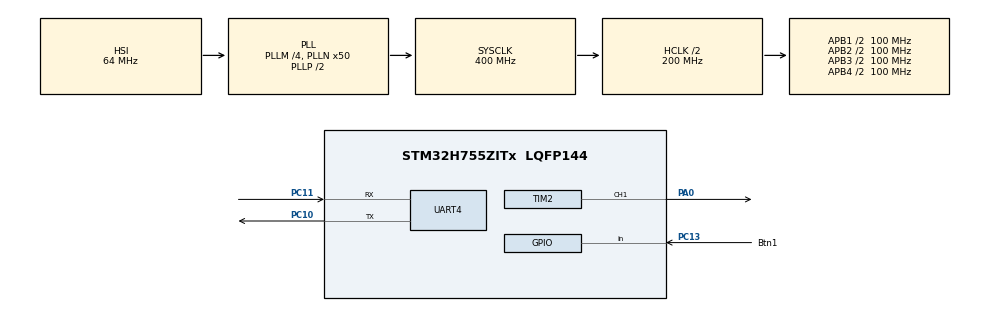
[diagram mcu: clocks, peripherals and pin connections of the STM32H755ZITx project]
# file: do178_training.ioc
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CortexM4.IPs=FATFS_M4\:I,FREERTOS_M4\:I,IWDG2\:I,RCC,WWDG2\:I,DMA,BDMA,MDMA,NVIC2\:I,USART3,DEBUG,PDM2PCM_M4\:I,PWR,RESMGR_UTILITY,SYS_M4\:I,USB_DEVICE_M4\:I,USB_HOST_M4\:I,CORTEX_M4\:I,GPIO,OPENAMP_M4\:I,VREFBUF,UART4
CortexM7.IPs=FATFS_M7\:I,FREERTOS_M7\:I,IWDG1\:I,RCC\:I,WWDG1\:I,DMA\:I,BDMA\:I,MDMA\:I,NVIC1\:I,SYS\:I,CORTEX_M7\:I,DEBUG\:I,PDM2PCM_M7\:I,PWR\:I,RESMGR_UTILITY\:I,USB_DEVICE_M7\:I,USB_HOST_M7\:I,GPIO\:I,OPENAMP_M7\:I,VREFBUF\:I,TIM2\:I,USART3\:I,UART4\:I
CortexM7.Pins=PC13
FREERTOS_M4.Tasks01=defaultTask,24,512,StartDefaultTask,Default,NULL,Static,defaultTaskBuffer,defaultTaskControlBlock;myTask02,24,512,StartTask02,Default,NULL,Static,myTask02Buffer,myTask02ControlBlock
FREERTOS_M4.configENABLE_FPU=1
FREERTOS_M7.Tasks01=defaultTask,24,512,StartDefaultTask,Default,NULL,Static,defaultTaskBuffer,defaultTaskControlBlock;myTask02,32,512,StartTask02,Default,NULL,Static,myTask02Buffer,myTask02ControlBlock
FREERTOS_M7.configENABLE_FPU=1
Mcu.Family=STM32H7
Mcu.Name=STM32H755ZITx
Mcu.Package=LQFP144
NUCLEO-H755ZI-Q.BUTTON=1
NUCLEO-H755ZI-Q.Bsp_Common_DEMO=true
NUCLEO-H755ZI-Q.LD1=true
NUCLEO-H755ZI-Q.LD2=true
NUCLEO-H755ZI-Q.LD3=true
NUCLEO-H755ZI-Q.VCP=true
NVIC1.PriorityGroup=NVIC_PRIORITYGROUP_4
NVIC2.PriorityGroup=NVIC_PRIORITYGROUP_4
PA0.PinAttribute=CortexM7
PA0.Signal=S_TIM2_CH1_ETR
PA1.PinAttribute=CortexM4
PA1.Signal=ETH_REF_CLK
PA11.PinAttribute=CortexM7
PA11.Signal=USB_OTG_FS_DM
PA12.PinAttribute=CortexM7
PA12.Signal=USB_OTG_FS_DP
PA2.PinAttribute=CortexM4
PA2.Signal=ETH_MDIO
PA7.PinAttribute=CortexM4
PA7.Signal=ETH_CRS_DV
PA8.PinAttribute=CortexM7
PA8.Signal=USB_OTG_FS_SOF
PA9.PinAttribute=CortexM7
PA9.Signal=USB_OTG_FS_VBUS
PB13.PinAttribute=CortexM4
PB13.Signal=ETH_TXD1
PC1.PinAttribute=CortexM4
PC1.Signal=ETH_MDC
PC10.Mode=Asynchronous
PC10.PinAttribute=CortexM7
PC10.Signal=UART4_TX
PC11.Mode=Asynchronous
PC11.PinAttribute=CortexM7
PC11.Signal=UART4_RX
PC13.GPIO_Label=Btn1
PC13.PinAttribute=CortexM7
PC13.Signal=GPIO_Input
PC14-OSC32_IN\ (OSC32_IN).PinAttribute=Free
PC14-OSC32_IN\ (OSC32_IN).Signal=RCC_OSC32_IN
PC15-OSC32_OUT\ (OSC32_OUT).PinAttribute=Free
PC15-OSC32_OUT\ (OSC32_OUT).Signal=RCC_OSC32_OUT
PC4.PinAttribute=CortexM4
PC4.Signal=ETH_RXD0
PC5.PinAttribute=CortexM4
PC5.Signal=ETH_RXD1
PD8.PinAttribute=CortexM7
PD8.Signal=USART3_TX
PD9.PinAttribute=CortexM7
PD9.Signal=USART3_RX
PG11.PinAttribute=CortexM4
PG11.Signal=ETH_TX_EN
PG13.PinAttribute=CortexM4
PG13.Signal=ETH_TXD0
PH0-OSC_IN\ (PH0).PinAttribute=Free
PH0-OSC_IN\ (PH0).Signal=RCC_OSC_IN
PH1-OSC_OUT\ (PH1).PinAttribute=Free
PH1-OSC_OUT\ (PH1).Signal=RCC_OSC_OUT
ProjectManager.HeapSize=M4-0x200,M7-0x200
ProjectManager.StackSize=M4-0x400,M7-0x400
ProjectManager.TargetToolchain=STM32CubeIDE
RCC.ADCFreq_Value=129000000
RCC.APB1Freq_Value=100000000
RCC.APB2Freq_Value=100000000
RCC.APB3Freq_Value=100000000
RCC.APB4Freq_Value=100000000
RCC.CortexFreq_Value=400000000
RCC.D1PPRE=RCC_APB3_DIV2
RCC.D2PPRE1=RCC_APB1_DIV2
RCC.D2PPRE2=RCC_APB2_DIV2
RCC.D3PPRE=RCC_APB4_DIV2
RCC.DIVM1=4
RCC.DIVN1=50
RCC.DIVQ1=5
RCC.HCLKFreq_Value=200000000
RCC.HPRE=RCC_HCLK_DIV2
RCC.PLL2FRACN=0
RCC.PLL3FRACN=0
RCC.PLLFRACN=0
RCC.SYSCLKFreq_VALUE=400000000
RCC.SYSCLKSource=RCC_SYSCLKSOURCE_PLLCLK
RCC.SupplySource=PWR_DIRECT_SMPS_SUPPLY
RCC.USBFreq_Value=160000000
SH.S_TIM2_CH1_ETR.0=TIM2_CH1,PWM Generation1 CH1
TIM2.AutoReloadPreload=TIM_AUTORELOAD_PRELOAD_ENABLE
TIM2.Channel-PWM\ Generation1\ CH1=TIM_CHANNEL_1
TIM2.Period=19999
TIM2.Prescaler=199
VP_FREERTOS_M4_VS_CMSIS_V2.Mode=CMSIS_V2
VP_FREERTOS_M7_VS_CMSIS_V2.Mode=CMSIS_V2
VP_NUCLEO-H755ZI-Q_VS_BSP_COMMON.Mode=COMMON
VP_SYS_M4_VS_Systick.Mode=SysTick
board=NUCLEO-H755ZI-Q

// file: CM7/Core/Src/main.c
/* USER CODE BEGIN Header */
/**
  ******************************************************************************
  * @file           : main.c
  * @brief          : Main program body
  ******************************************************************************
  * @attention
  *
  * Copyright (c) 2026 STMicroelectronics.
  * All rights reserved.
  *
  * This software is licensed under terms that can be found in the LICENSE file
  * in the root directory of this software component.
  * If no LICENSE file comes with this software, it is provided AS-IS.
  *
  ******************************************************************************
  */
/* USER CODE END Header */
#include "main.h"
#include "cmsis_os.h"

/* USER CODE BEGIN Includes */
#include "pwm_servo.h"
#include "flap.h"
/* USER CODE END Includes */

typedef StaticTask_t osStaticThreadDef_t;

/* USER CODE BEGIN PD */

/* DUAL_CORE_BOOT_SYNC_SEQUENCE: Define for dual core boot synchronization    */
/*                             demonstration code based on hardware semaphore */
/* This define is present in both CM7/CM4 projects                            */
/* To comment when developping/debugging on a single core                     */
#define DUAL_CORE_BOOT_SYNC_SEQUENCE

#if defined(DUAL_CORE_BOOT_SYNC_SEQUENCE)
#ifndef HSEM_ID_0
#define HSEM_ID_0 (0U) /* HW semaphore 0*/
#endif
#endif /* DUAL_CORE_BOOT_SYNC_SEQUENCE */

/* USER CODE END PD */

TIM_HandleTypeDef htim2;

UART_HandleTypeDef huart4;

/* Definitions for defaultTask */
osThreadId_t defaultTaskHandle;
uint32_t defaultTaskBuffer[ 512 ];
osStaticThreadDef_t defaultTaskControlBlock;
const osThreadAttr_t defaultTask_attributes = {
  .name = "defaultTask",
  .cb_mem = &defaultTaskControlBlock,
  .cb_size = sizeof(defaultTaskControlBlock),
  .stack_mem = &defaultTaskBuffer[0],
  .stack_size = sizeof(defaultTaskBuffer),
  .priority = (osPriority_t) osPriorityNormal,
};
/* Definitions for myTask02 */
osThreadId_t myTask02Handle;
uint32_t myTask02Buffer[ 512 ];
osStaticThreadDef_t myTask02ControlBlock;
const osThreadAttr_t myTask02_attributes = {
  .name = "myTask02",
  .cb_mem = &myTask02ControlBlock,
  .cb_size = sizeof(myTask02ControlBlock),
  .stack_mem = &myTask02Buffer[0],
  .stack_size = sizeof(myTask02Buffer),
  .priority = (osPriority_t) osPriorityAboveNormal,
};

void SystemClock_Config(void);
static void MX_GPIO_Init(void);
static void MX_TIM2_Init(void);
static void MX_UART4_Init(void);
void StartDefaultTask(void *argument);
void StartTask02(void *argument);

int main(void)
{

/* USER CODE BEGIN Boot_Mode_Sequence_0 */
#if defined(DUAL_CORE_BOOT_SYNC_SEQUENCE)
  int32_t timeout;
#endif /* DUAL_CORE_BOOT_SYNC_SEQUENCE */
/* USER CODE END Boot_Mode_Sequence_0 */

/* USER CODE BEGIN Boot_Mode_Sequence_1 */
#if defined(DUAL_CORE_BOOT_SYNC_SEQUENCE)
  /* Wait until CPU2 boots and enters in stop mode or timeout*/
  timeout = 0xFFFF;
  while((__HAL_RCC_GET_FLAG(RCC_FLAG_D2CKRDY) != RESET) && (timeout-- > 0));
  if ( timeout < 0 )
  {
  Error_Handler();
  }
#endif /* DUAL_CORE_BOOT_SYNC_SEQUENCE */
/* USER CODE END Boot_Mode_Sequence_1 */
  /* MCU Configuration--------------------------------------------------------*/

  /* Reset of all peripherals, Initializes the Flash interface and the Systick. */
  HAL_Init();

  /* Configure the system clock */
  SystemClock_Config();
/* USER CODE BEGIN Boot_Mode_Sequence_2 */
#if defined(DUAL_CORE_BOOT_SYNC_SEQUENCE)
/* When system initialization is finished, Cortex-M7 will release Cortex-M4 by means of
HSEM notification */
/*HW semaphore Clock enable*/
__HAL_RCC_HSEM_CLK_ENABLE();
/*Take HSEM */
HAL_HSEM_FastTake(HSEM_ID_0);
/*Release HSEM in order to notify the CPU2(CM4)*/
HAL_HSEM_Release(HSEM_ID_0,0);
/* wait until CPU2 wakes up from stop mode */
timeout = 0xFFFF;
while((__HAL_RCC_GET_FLAG(RCC_FLAG_D2CKRDY) == RESET) && (timeout-- > 0));
if ( timeout < 0 )
{
Error_Handler();
}
#endif /* DUAL_CORE_BOOT_SYNC_SEQUENCE */
/* USER CODE END Boot_Mode_Sequence_2 */

  /* Initialize all configured peripherals */
  MX_GPIO_Init();
  MX_TIM2_Init();
  MX_UART4_Init();

  /* Init scheduler */
  osKernelInitialize();

  /* Create the thread(s) */
  /* creation of defaultTask */
  defaultTaskHandle = osThreadNew(StartDefaultTask, NULL, &defaultTask_attributes);

  /* creation of myTask02 */
  myTask02Handle = osThreadNew(StartTask02, NULL, &myTask02_attributes);

  /* Start scheduler */
  osKernelStart();

  /* We should never get here as control is now taken by the scheduler */

  /* Infinite loop */

}

void SystemClock_Config(void)
{
  RCC_OscInitTypeDef RCC_OscInitStruct = {0};
  RCC_ClkInitTypeDef RCC_ClkInitStruct = {0};

  /** Supply configuration update enable
  */
  HAL_PWREx_ConfigSupply(PWR_DIRECT_SMPS_SUPPLY);

  /** Configure the main internal regulator output voltage
  */
  __HAL_PWR_VOLTAGESCALING_CONFIG(PWR_REGULATOR_VOLTAGE_SCALE1);

  while(!__HAL_PWR_GET_FLAG(PWR_FLAG_VOSRDY)) {}

  /** Initializes the RCC Oscillators according to the specified parameters
  * in the RCC_OscInitTypeDef structure.
  */
  RCC_OscInitStruct.OscillatorType = RCC_OSCILLATORTYPE_HSI;
  RCC_OscInitStruct.HSIState = RCC_HSI_DIV1;
  RCC_OscInitStruct.HSICalibrationValue = RCC_HSICALIBRATION_DEFAULT;
  RCC_OscInitStruct.PLL.PLLState = RCC_PLL_ON;
  RCC_OscInitStruct.PLL.PLLSource = RCC_PLLSOURCE_HSI;
  RCC_OscInitStruct.PLL.PLLM = 4;
  RCC_OscInitStruct.PLL.PLLN = 50;
  RCC_OscInitStruct.PLL.PLLP = 2;
  RCC_OscInitStruct.PLL.PLLQ = 5;
  RCC_OscInitStruct.PLL.PLLR = 2;
  RCC_OscInitStruct.PLL.PLLRGE = RCC_PLL1VCIRANGE_3;
  RCC_OscInitStruct.PLL.PLLVCOSEL = RCC_PLL1VCOWIDE;
  RCC_OscInitStruct.PLL.PLLFRACN = 0;
  if (HAL_RCC_OscConfig(&RCC_OscInitStruct) != HAL_OK)
  {
    Error_Handler();
  }

  /** Initializes the CPU, AHB and APB buses clocks
  */
  RCC_ClkInitStruct.ClockType = RCC_CLOCKTYPE_HCLK|RCC_CLOCKTYPE_SYSCLK
                              |RCC_CLOCKTYPE_PCLK1|RCC_CLOCKTYPE_PCLK2
                              |RCC_CLOCKTYPE_D3PCLK1|RCC_CLOCKTYPE_D1PCLK1;
  RCC_ClkInitStruct.SYSCLKSource = RCC_SYSCLKSOURCE_PLLCLK;
  RCC_ClkInitStruct.SYSCLKDivider = RCC_SYSCLK_DIV1;
  RCC_ClkInitStruct.AHBCLKDivider = RCC_HCLK_DIV2;
  RCC_ClkInitStruct.APB3CLKDivider = RCC_APB3_DIV2;
  RCC_ClkInitStruct.APB1CLKDivider = RCC_APB1_DIV2;
  RCC_ClkInitStruct.APB2CLKDivider = RCC_APB2_DIV2;
  RCC_ClkInitStruct.APB4CLKDivider = RCC_APB4_DIV2;

  if (HAL_RCC_ClockConfig(&RCC_ClkInitStruct, FLASH_LATENCY_2) != HAL_OK)
  {
    Error_Handler();
  }
}

static void MX_TIM2_Init(void)
{

  TIM_MasterConfigTypeDef sMasterConfig = {0};
  TIM_OC_InitTypeDef sConfigOC = {0};

  htim2.Instance = TIM2;
  htim2.Init.Prescaler = 199;
  htim2.Init.CounterMode = TIM_COUNTERMODE_UP;
  htim2.Init.Period = 19999;
  htim2.Init.ClockDivision = TIM_CLOCKDIVISION_DIV1;
  htim2.Init.AutoReloadPreload = TIM_AUTORELOAD_PRELOAD_ENABLE;
  if (HAL_TIM_PWM_Init(&htim2) != HAL_OK)
  {
    Error_Handler();
  }
  sMasterConfig.MasterOutputTrigger = TIM_TRGO_RESET;
  sMasterConfig.MasterSlaveMode = TIM_MASTERSLAVEMODE_DISABLE;
  if (HAL_TIMEx_MasterConfigSynchronization(&htim2, &sMasterConfig) != HAL_OK)
  {
    Error_Handler();
  }
  sConfigOC.OCMode = TIM_OCMODE_PWM1;
  sConfigOC.Pulse = 0;
  sConfigOC.OCPolarity = TIM_OCPOLARITY_HIGH;
  sConfigOC.OCFastMode = TIM_OCFAST_DISABLE;
  if (HAL_TIM_PWM_ConfigChannel(&htim2, &sConfigOC, TIM_CHANNEL_1) != HAL_OK)
  {
    Error_Handler();
  }
  HAL_TIM_MspPostInit(&htim2);

}

static void MX_UART4_Init(void)
{

  huart4.Instance = UART4;
  huart4.Init.BaudRate = 115200;
  huart4.Init.WordLength = UART_WORDLENGTH_8B;
  huart4.Init.StopBits = UART_STOPBITS_1;
  huart4.Init.Parity = UART_PARITY_NONE;
  huart4.Init.Mode = UART_MODE_TX_RX;
  huart4.Init.HwFlowCtl = UART_HWCONTROL_NONE;
  huart4.Init.OverSampling = UART_OVERSAMPLING_16;
  huart4.Init.OneBitSampling = UART_ONE_BIT_SAMPLE_DISABLE;
  huart4.Init.ClockPrescaler = UART_PRESCALER_DIV1;
  huart4.AdvancedInit.AdvFeatureInit = UART_ADVFEATURE_NO_INIT;
  if (HAL_UART_Init(&huart4) != HAL_OK)
  {
    Error_Handler();
  }
  if (HAL_UARTEx_SetTxFifoThreshold(&huart4, UART_TXFIFO_THRESHOLD_1_8) != HAL_OK)
  {
    Error_Handler();
  }
  if (HAL_UARTEx_SetRxFifoThreshold(&huart4, UART_RXFIFO_THRESHOLD_1_8) != HAL_OK)
  {
    Error_Handler();
  }
  if (HAL_UARTEx_DisableFifoMode(&huart4) != HAL_OK)
  {
    Error_Handler();
  }

}

static void MX_GPIO_Init(void)
{
  GPIO_InitTypeDef GPIO_InitStruct = {0};

  /* GPIO Ports Clock Enable */
  __HAL_RCC_GPIOC_CLK_ENABLE();
  __HAL_RCC_GPIOA_CLK_ENABLE();
  __HAL_RCC_GPIOD_CLK_ENABLE();

  /*Configure GPIO pin : Btn1_Pin */
  GPIO_InitStruct.Pin = Btn1_Pin;
  GPIO_InitStruct.Mode = GPIO_MODE_INPUT;
  GPIO_InitStruct.Pull = GPIO_NOPULL;
  HAL_GPIO_Init(Btn1_GPIO_Port, &GPIO_InitStruct);

  /*Configure GPIO pins : PD8 PD9 */
  GPIO_InitStruct.Pin = GPIO_PIN_8|GPIO_PIN_9;
  GPIO_InitStruct.Mode = GPIO_MODE_AF_PP;
  GPIO_InitStruct.Pull = GPIO_NOPULL;
  GPIO_InitStruct.Speed = GPIO_SPEED_FREQ_LOW;
  GPIO_InitStruct.Alternate = GPIO_AF7_USART3;
  HAL_GPIO_Init(GPIOD, &GPIO_InitStruct);

  /*Configure GPIO pins : PA8 PA11 PA12 */
  GPIO_InitStruct.Pin = GPIO_PIN_8|GPIO_PIN_11|GPIO_PIN_12;
  GPIO_InitStruct.Mode = GPIO_MODE_AF_PP;
  GPIO_InitStruct.Pull = GPIO_NOPULL;
  GPIO_InitStruct.Speed = GPIO_SPEED_FREQ_LOW;
  GPIO_InitStruct.Alternate = GPIO_AF10_OTG1_FS;
  HAL_GPIO_Init(GPIOA, &GPIO_InitStruct);

}

void StartDefaultTask(void *argument)
{
  for(;;)
  {
	  osDelay(1);
  }
}

void StartTask02(void *argument)
{
  /* USER CODE BEGIN StartTask02 */

	int32_t startAngle;
	int32_t currentAngle;
	int32_t targetAngle;
	int32_t stepSize;

	startAngle = 0;
	currentAngle = 0;
	targetAngle = 120;  // target angle
	stepSize = 2;      // Step size in degrees
    Servo_Feedback_HandleTypeDef servoFb;  /* ADC feedback handle for servo position */

	Servo_HandleTypeDef servo1 = {
	  .htim = &htim2,
	  .channel = TIM_CHANNEL_1,
	  .minPulse = SERVO_MIN_PULSE,   // corresponds to 500us (0deg)
	  .maxPulse = SERVO_MAX_PULSE    // corresponds to 2400us (180deg)
	};

	if (Servo_PWM_Start(&servo1) != HAL_OK) {
	  Error_Handler();
	}

	Servo_SetAngle(&servo1, startAngle); //RIGAGEM

  /* Initialise servo position feedback (ADC1 – PF11 / INP2) */
  servoFb.hadc        = &hadc1;
  servoFb.pollTimeout = SERVO_FB_POLL_TIMEOUT;
  servoFb.adcMin      = SERVO_FB_ADC_MIN;
  servoFb.adcMax      = SERVO_FB_ADC_MAX;
  servoFb.minAngle    = SERVO_FB_ANGLE_MIN;
  servoFb.maxAngle    = SERVO_FB_ANGLE_MAX;
  servoFb.lastRaw     = 0U;
  servoFb.lastAngle   = 0.0f;

  if (Servo_Feedback_Init(&servoFb) != HAL_OK)
  {
    Error_Handler();
  }

	/* Initialize model */
	flap_initialize();

	rtU.Button=0.0;
	rtU.FeedbackServo=startAngle;

	/* Infinite loop */
	for(;;)
	{
		if (HAL_GPIO_ReadPin(GPIOC, GPIO_PIN_13) == GPIO_PIN_SET) {
			rtU.Button=1.0;
		}

		currentAngle = Servo_StepTowardAngle(&servo1, rtU.FeedbackServo, rtY.angle,stepSize);

		/* ---- ADC1 feedback read (PF11 / INP2) ---- */
	    (void)Servo_Feedback_Read(&servoFb);

		rtU.FeedbackServo=servoFb.lastAngle;

		/* Step the model */
		flap_step();
		osDelay(10);
	}
  /* USER CODE END StartTask02 */
}

void Error_Handler(void)
{
  __disable_irq();
  while (1)
  {
  }
}
